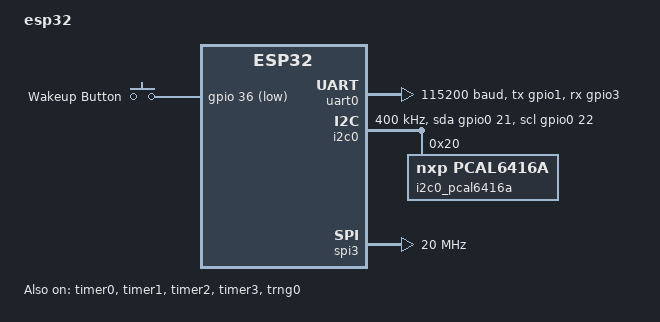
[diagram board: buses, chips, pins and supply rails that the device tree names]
/*
 * Copyright (c) 2023 Fabian Blatz <fabianblatz@gmail.com>
 *
 * SPDX-License-Identifier: Apache-2.0
 */
/dts-v1/;

#include <espressif/esp32/esp32_d0wd_v3.dtsi>
#include "inkplate_6color-pinctrl.dtsi"
#include <zephyr/dt-bindings/input/input-event-codes.h>

/ {
	model = "esp32";
	compatible = "espressif,esp32";

	aliases {
		uart-0 = &uart0;
		i2c-0 = &i2c0;
		watchdog0 = &wdt0;
	};

	buttons {
		compatible = "gpio-keys";
		wakeup_button_0: wakeup_button_0 {
			gpios = <&gpio 36 (GPIO_ACTIVE_LOW)>;
			label = "Wakeup Button";
			zephyr,code = <INPUT_KEY_WAKEUP>;
		};
	};

	chosen {
		zephyr,sram = &sram0;
		zephyr,console = &uart0;
		zephyr,shell-uart = &uart0;
		zephyr,flash = &flash0;
		zephyr,code-partition = &slot0_partition;
	};

};

&cpu0 {
	clock-frequency = <ESP32_CLK_CPU_240M>;
};

&cpu1 {
	clock-frequency = <ESP32_CLK_CPU_240M>;
};

&psram0 {
	reg = <0x3f800000 DT_SIZE_M(8)>;
	status = "disabled";
};

&uart0 {
	status = "okay";
	current-speed = <115200>;
	pinctrl-0 = <&uart0_tx_gpio1 &uart0_rx_gpio3>;
	pinctrl-names = "default";
};

&uart1 {
	status = "disabled";
	current-speed = <115200>;
	pinctrl-0 = <&uart1_rx_gpio33 &uart1_tx_gpio32>;
	pinctrl-names = "default";
};

&gpio0 {
	status = "okay";
};

&gpio1 {
	status = "okay";
};

&i2c0 {
	status = "okay";
	clock-frequency = <I2C_BITRATE_FAST>;
	sda-gpios = <&gpio0 21 GPIO_OPEN_DRAIN>;
	scl-gpios = <&gpio0 22 GPIO_OPEN_DRAIN>;
	pinctrl-0 = <&i2c0_default>;
	scl-timeout-us = <0>;
	pinctrl-names = "default";

	i2c0_pcal6416a: pcal6416a@20 {
		compatible = "nxp,pcal6416a";
		status = "okay";
		reg = <0x20>;
		#gpio-cells = <2>;
		gpio-controller;
		 ngpios = <16>;
	};
};

&i2c1 {
	status = "disabled";
	clock-frequency = <I2C_BITRATE_STANDARD>;
	sda-gpios = <&gpio0 32 GPIO_OPEN_DRAIN>;
	scl-gpios = <&gpio0 33 GPIO_OPEN_DRAIN>;
	pinctrl-0 = <&i2c1_default>;
	pinctrl-names = "default";
};

&spi3 {
	#address-cells = <1>;
	#size-cells = <0>;
	status = "okay";
	pinctrl-0 = <&spim3_default>;
	pinctrl-names = "default";
	dma-enabled;
	clock-frequency = <20000000>;
	cs-gpios = <&gpio0 5 GPIO_ACTIVE_LOW>;
};


&timer0 {
	status = "okay";
};

&timer1 {
	status = "okay";
};

&timer2 {
	status = "okay";
};

&timer3 {
	status = "okay";
};

&trng0 {
	status = "okay";
};

&flash0 {
	status = "okay";
	reg = <0 DT_SIZE_M(16)>;

	partitions {
		compatible = "fixed-partitions";
		#address-cells = <1>;
		#size-cells = <1>;

		/* Reserve 60kB for the bootloader */
		boot_partition: partition@1000 {
			label = "mcuboot";
			reg = <0x00001000 0x0000F000>;
			read-only;
		};

		/* Reserve 1024kB for the application in slot 0 */
		slot0_partition: partition@10000 {
			label = "image-0";
			reg = <0x00010000 0x00100000>;
		};

		/* Reserve 1024kB for the application in slot 1 */
		slot1_partition: partition@110000 {
			label = "image-1";
			reg = <0x00110000 0x00100000>;
		};

		/* Reserve 256kB for the scratch partition */
		scratch_partition: partition@210000 {
			label = "image-scratch";
			reg = <0x00210000 0x00040000>;
		};

		/* 14MB storage */
		storage_partition: partition@250000 {
			label = "storage";
			reg = <0x00250000 0x00db0000>;
		};
	};
};
